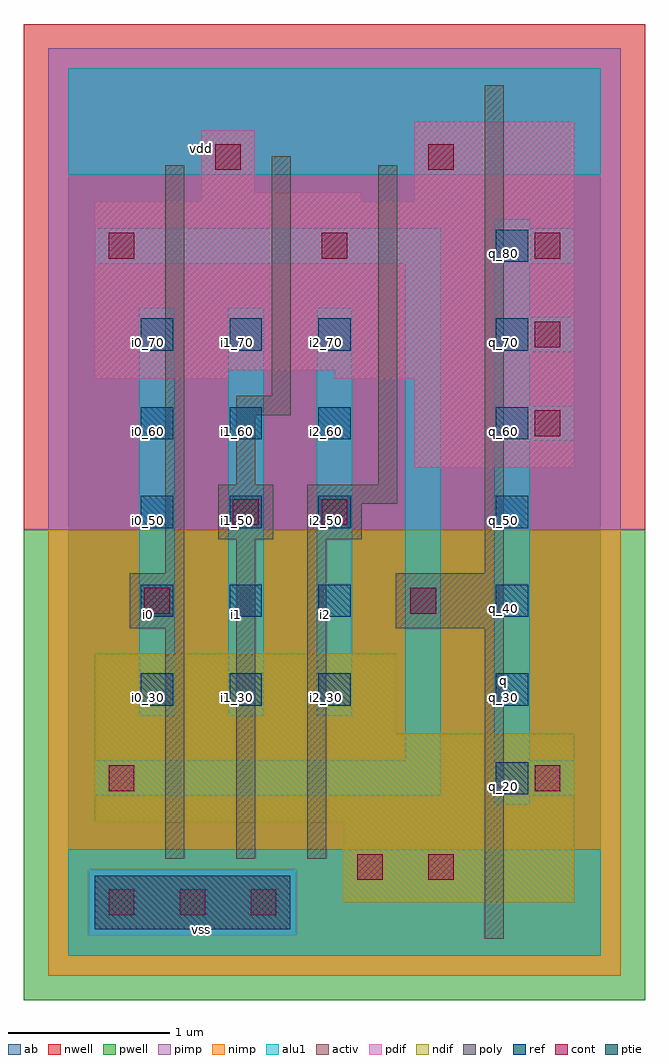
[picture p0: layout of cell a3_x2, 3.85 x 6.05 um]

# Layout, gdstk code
import gdstk
lib = gdstk.Library(unit=1e-6, precision=2.5e-09)
def R(c, l, rs):  # rectangles x0, y0, x1, y1
    for r in rs: c.add(gdstk.rectangle(r[:2], r[2:], *l))
def A(c, l, x, y, w, h, nx, ny, dx, dy):  # array of equal rectangles
    R(c, l, [(x+i*dx, y+j*dy, x+i*dx+w, y+j*dy+h) for i in range(nx) for j in range(ny)])
ndif = (3, 0)
pdif = (4, 0)
ptie = (6, 0)
ref = (24, 0)
cont = (25, 0)
pwell = (41, 0)
nwell = (42, 0)
activ = (43, 0)
pimp = (44, 0)
nimp = (45, 0)
poly = (46, 0)
alu1 = (49, 0)
ab = (63, 0)

a3_x2 = lib.new_cell('a3_x2')
R(a3_x2, ndif, [(1.705,0.33,3.135,0.825), (0.165,0.825,3.135,1.375), (0.165,1.375,2.035,1.87)])
R(a3_x2, pdif, [(2.145,3.025,3.135,3.575), (0.165,3.575,0.99,3.63), (1.65,3.575,3.135,3.63), (0.165,3.63,3.135,4.675), (0.825,4.675,1.815,4.73), (2.145,4.675,3.135,5.17), (0.825,4.73,1.155,5.115)])
R(a3_x2, ptie, [(0.165,0.165,1.375,0.495)])
A(a3_x2, ref, 2.65, 1, 0.2, 0.2, 1, 7, 0, 0.55)
A(a3_x2, ref, 0.45, 1.55, 0.2, 0.2, 3, 5, 0.55, 0.55)
A(a3_x2, cont, 0.25, 0.25, 0.16, 0.16, 3, 1, 0.44, 0)
A(a3_x2, cont, 0.25, 4.32, 0.16, 0.16, 3, 1, 1.32, 0)
R(a3_x2, cont, [(1.79,0.47,1.95,0.63), (2.23,0.47,2.39,0.63), (0.25,1.02,0.41,1.18), (2.89,1.02,3.05,1.18), (0.47,2.12,0.63,2.28), (2.12,2.12,2.28,2.28), (1.02,2.67,1.18,2.83), (1.57,2.67,1.73,2.83), (2.89,3.22,3.05,3.38), (2.89,3.77,3.05,3.93), (0.91,4.87,1.07,5.03), (2.23,4.87,2.39,5.03)])
R(a3_x2, pwell, [(-0.275,-0.275,3.575,2.64)])
R(a3_x2, nwell, [(-0.275,2.64,3.575,5.775)])
R(a3_x2, activ, [(0.165,0.165,1.375,0.495), (1.705,0.33,3.135,0.825), (0.165,0.825,3.135,1.375), (0.165,1.375,2.035,1.87), (2.145,3.025,3.135,3.575), (0.165,3.575,0.99,3.63), (1.65,3.575,3.135,3.63), (0.165,3.63,3.135,4.675), (0.825,4.675,1.815,4.73), (2.145,4.675,3.135,5.17), (0.825,4.73,1.155,5.115)])
R(a3_x2, pimp, [(0.125,0.125,1.415,0.535), (-0.125,2.64,3.425,5.625)])
R(a3_x2, nimp, [(-0.125,-0.125,3.425,0.125), (-0.125,0.125,0.125,0.535), (1.415,0.125,3.425,0.535), (-0.125,0.535,3.425,2.64)])
R(a3_x2, poly, [(2.58,0.105,2.7,2.03), (0.6,0.6,0.72,2.03), (1.04,0.6,1.16,2.58), (1.48,0.6,1.6,2.58), (0.38,2.03,0.72,2.37), (2.03,2.03,2.7,2.37), (0.6,2.37,0.72,4.9), (2.58,2.37,2.7,5.395), (0.93,2.58,1.27,2.92), (1.48,2.58,1.82,2.8), (1.48,2.8,2.04,2.92), (1.04,2.92,1.16,3.35), (1.92,2.92,2.04,4.9), (1.04,3.35,1.38,3.47), (1.26,3.47,1.38,4.955)])
A(a3_x2, alu1, 0.44, 1.485, 0.22, 2.53, 3, 1, 0.55, 0)
A(a3_x2, alu1, 2.64, 3.19, 0.495, 0.22, 1, 3, 0, 0.55)
R(a3_x2, alu1, [(0,0,3.3,0.66), (2.64,0.935,2.86,0.99), (0.165,0.99,2.31,1.21), (2.64,0.99,3.135,1.21), (2.09,1.21,2.31,4.29), (2.64,1.21,2.86,3.19), (2.64,3.41,2.86,3.74), (2.64,3.96,2.86,4.29), (0.165,4.29,2.31,4.51), (2.64,4.51,2.86,4.565), (0,4.84,3.3,5.5)])
R(a3_x2, ab, [(0,0,3.3,5.5)])
a3_x2.add(gdstk.Label('vss', (0.825,0.165), layer=49, texttype=0))
a3_x2.add(gdstk.Label('q', (2.695,1.705), layer=49, texttype=0))
a3_x2.add(gdstk.Label('i2', (1.595,2.1175), layer=49, texttype=0))
a3_x2.add(gdstk.Label('i1', (1.045,2.1175), layer=49, texttype=0))
a3_x2.add(gdstk.Label('i0', (0.495,2.1175), layer=49, texttype=0))
a3_x2.add(gdstk.Label('vdd', (0.825,5.005), layer=49, texttype=0))
a3_x2.add(gdstk.Label('q_20', (2.7,1.05), layer=24, texttype=0))
a3_x2.add(gdstk.Label('q_30', (2.7,1.6), layer=24, texttype=0))
a3_x2.add(gdstk.Label('q_80', (2.7,4.35), layer=24, texttype=0))
a3_x2.add(gdstk.Label('q_70', (2.7,3.8), layer=24, texttype=0))
a3_x2.add(gdstk.Label('q_60', (2.7,3.25), layer=24, texttype=0))
a3_x2.add(gdstk.Label('q_50', (2.7,2.7), layer=24, texttype=0))
a3_x2.add(gdstk.Label('q_40', (2.7,2.15), layer=24, texttype=0))
a3_x2.add(gdstk.Label('i2_70', (1.6,3.8), layer=24, texttype=0))
a3_x2.add(gdstk.Label('i2_60', (1.6,3.25), layer=24, texttype=0))
a3_x2.add(gdstk.Label('i1_40', (1.05,2.15), layer=24, texttype=0))
a3_x2.add(gdstk.Label('i1_50', (1.05,2.7), layer=24, texttype=0))
a3_x2.add(gdstk.Label('i1_60', (1.05,3.25), layer=24, texttype=0))
a3_x2.add(gdstk.Label('i1_70', (1.05,3.8), layer=24, texttype=0))
a3_x2.add(gdstk.Label('i0_40', (0.5,2.15), layer=24, texttype=0))
a3_x2.add(gdstk.Label('i0_50', (0.5,2.7), layer=24, texttype=0))
a3_x2.add(gdstk.Label('i0_60', (0.5,3.25), layer=24, texttype=0))
a3_x2.add(gdstk.Label('i0_70', (0.5,3.8), layer=24, texttype=0))
a3_x2.add(gdstk.Label('i1_30', (1.05,1.6), layer=24, texttype=0))
a3_x2.add(gdstk.Label('i0_30', (0.5,1.6), layer=24, texttype=0))
a3_x2.add(gdstk.Label('i2_30', (1.6,1.6), layer=24, texttype=0))
a3_x2.add(gdstk.Label('i2_40', (1.6,2.15), layer=24, texttype=0))
a3_x2.add(gdstk.Label('i2_50', (1.6,2.7), layer=24, texttype=0))

lib.write_gds('a3_x2.gds')
